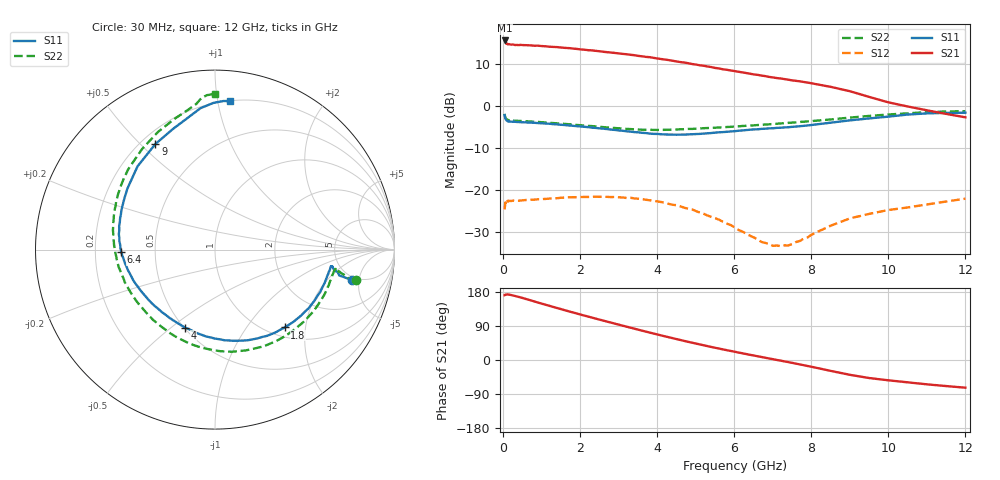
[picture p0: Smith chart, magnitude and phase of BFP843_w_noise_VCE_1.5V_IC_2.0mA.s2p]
! Infineon Technologies  Discrete & RF Semiconductors
! BFP843
! VCE =  1.5 V,  IC =  2.0 mA
! Common Emitter S-Parameters:  Aug 2013
# GHz  S  MA  R  50
!  f  S11  S21  S12  S22
! GHz  MAG  ANG  MAG  ANG  MAG  ANG  MAG  ANG
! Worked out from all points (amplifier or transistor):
!   103 points, 30 MHz to 12 GHz, reference 50 ohm
!   highest |S21| = 15.6 dB at 30 MHz (marker M1)
!   |S21| within 3 dB of that: start of sweep to 2.92 GHz
!   unconditionally stable (mu >= 1): 130.3 MHz to 912.6 MHz; 3.021 GHz to 11.22 GHz
!   at 400 MHz: K = 1.02, MAG = 17.6 dB, |S12| = -22.5 dB
!   at 3.7 GHz: K = 1.10, MAG = 15.1 dB, |S12| = -22.3 dB
!   at 12 GHz: K = 0.88, MSG = 9.7 dB, |S12| = -22.0 dB
!   lowest NFmin = 1.16 dB at 450 MHz
!   S11 on the Smith chart (normalised r, x): 30 MHz: 4.56, -4.02; 1.8 GHz: 1.18, -1.54; 4 GHz: 0.50, -0.56; 6.4 GHz: 0.31, -0.01; 9 GHz: 0.26, +0.56; 12 GHz: 0.20, +1.09
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0.03  0.7825 -12.6  6.031 170.9  0.0589 38.1  0.803 -12.3
0.07  0.6835 -10.1  5.524 172.8  0.0707 16.7  0.7047 -10.0
0.13  0.6614 -8.2  5.444 173.0  0.0732 10.3  0.6784 -9.2
0.45  0.6421 -13.3  5.341 164.9  0.0752 1.9  0.6642 -17.1
0.9  0.6265 -24.4  5.226 151.5  0.0777 -1.4  0.6471 -32.1
1.4  0.6042 -37.5  5.026 137.0  0.0801 -5.5  0.6222 -49.4
1.8  0.5823 -48.1  4.831 125.6  0.0823 -9.9  0.6035 -63.2
2.1  0.5659 -56.4  4.683 117.2  0.0828 -13.5  0.5862 -73.6
2.5  0.5422 -67.2  4.483 106.4  0.0831 -17.8  0.5666 -87.1
3  0.5125 -81.2  4.229 93.2  0.0821 -24.4  0.5435 -104.2
3.4  0.4897 -93.0  4.027 82.7  0.0796 -30.3  0.5289 -118.0
4  0.4656 -111.1  3.677 67.3  0.0733 -39.2  0.5197 -137.8
4.1  0.4615 -114.4  3.624 64.8  0.072 -40.5  0.5197 -140.9
5  0.4641 -143.0  3.116 43.4  0.0562 -50.9  0.5379 -165.0
5.4  0.4772 -154.5  2.908 34.4  0.048 -54.9  0.5496 -174.0
6.1  0.5077 -171.6  2.56 19.8  0.0336 -53.6  0.5729 171.4
6.4  0.5223 -178.4  2.427 13.7  0.0287 -49.7  0.586 165.5
7.4  0.5597 159.5  2.06 -5.6  0.0219 -10.2  0.6307 147.1
8.5  0.6338 132.9  1.692 -28.7  0.0377 11.5  0.6925 125.8
9  0.6756 119.4  1.501 -39.1  0.046 10.5  0.7286 115.8
10.5  0.7918 95.9  0.988 -58.9  0.0621 2.1  0.8185 97.3
12  0.8318 84.2  0.734 -73.1  0.079 -7.0  0.8685 89.9
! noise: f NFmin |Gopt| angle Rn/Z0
0.45  1.16  0.34  9  0.05
0.9  1.19  0.35  19  0.08
1.5  1.25  0.34  31  0.18
1.9  1.3  0.33  40  0.27
2.4  1.38  0.32  50  0.36
3.5  1.55  0.27  71  0.52
5.5  1.89  0.22  159  0.56
10  2.91  0.58  -85  0.63
